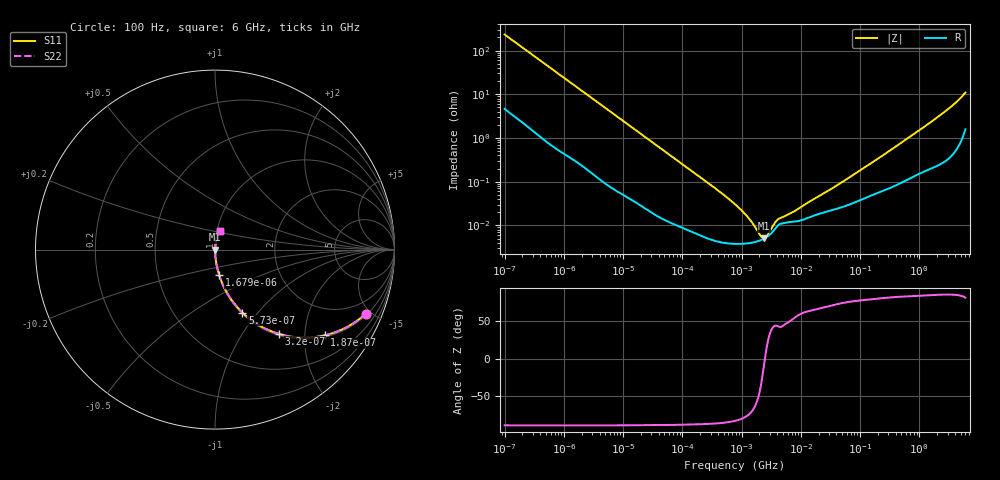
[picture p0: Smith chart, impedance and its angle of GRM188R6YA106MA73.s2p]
!Murata Part Number: GRM188R6YA106MA73
!These Parameters are Measured in Series Mode Connection
!Data Generated on Mar 30, 2021
!  o--ll--o
!Port1  Port2
!  o------o
!Operation Temp=25[degC], DC Bias Voltage=0[V]
!Freq. Start=100[Hz] Stop=6[GHz] 401[Steps]
# Hz S RI R 50
!Freq.(Hz) S11(Real) S11(Imag) S21(Real) S21(Imag) S12(Real) S12(Imag) S22(Real) S22(Imag)
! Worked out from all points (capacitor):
!   401 points, 100 Hz to 6 GHz, reference 50 ohm
!   read as one part in series: C = 6.77 uF near 109 Hz
!   lowest |Z| = 5.04 mohm at 2.373 MHz (marker M1)
!   series resonance near 2.477 MHz, so ESL is about 610 pH
!   S11 on the Smith chart (normalised r, x): 100 Hz: 1.09, -4.68; 187 Hz: 1.05, -2.52; 320 Hz: 1.03, -1.48; 573 Hz: 1.01, -0.83; 1.679 kHz: 1.01, -0.29; 6 GHz: 1.03, +0.22
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100  0.8407 -0.3562  0.1593 0.3562  0.1593 0.3562  0.8407 -0.3562
187  0.6115 -0.4779  0.3885 0.4779  0.3885 0.4779  0.6115 -0.4779
320  0.357 -0.4701  0.643 0.4701  0.643 0.4701  0.357 -0.4701
573  0.1522 -0.3506  0.8478 0.3506  0.8478 0.3506  0.1522 -0.3506
938  0.0652 -0.238  0.9348 0.238  0.9348 0.238  0.0652 -0.238
1679  0.0229 -0.1402  0.9771 0.1402  0.9771 0.1402  0.0229 -0.1402
2008  0.0166 -0.1183  0.9834 0.1183  0.9834 0.1183  0.0166 -0.1183
6433  0.00217 -0.038  0.9978 0.038  0.9978 0.038  0.00217 -0.038
40335  0.000194 -0.00622  0.9998 0.00622  0.9998 0.00622  0.000194 -0.00622
316350  4.7e-05 -0.000805  1 0.000805  1 0.000805  4.7e-05 -0.000805
774597  3.79e-05 -0.000303  1 0.000303  1 0.000303  3.79e-05 -0.000303
1585629  4.09e-05 -9.71e-05  1 9.71e-05  1 9.71e-05  4.09e-05 -9.71e-05
1813585  4.29e-05 -6.67e-05  1 6.67e-05  1 6.67e-05  4.29e-05 -6.67e-05
2372521  4.96e-05 -9e-06  1 9e-06  1 9e-06  4.96e-05 -9e-06
3245845  6.8e-05 5.7e-05  0.9999 -5.7e-05  0.9999 -5.7e-05  6.8e-05 5.7e-05
4246196  0.000104 9.66e-05  0.9999 -9.66e-05  0.9999 -9.66e-05  0.000104 9.66e-05
7599586  0.000122 0.000168  0.9999 -0.000168  0.9999 -0.000168  0.000122 0.000168
1.555665e7  0.000162 0.000345  0.9998 -0.000345  0.9998 -0.000345  0.000162 0.000345
4.556224e7  0.000253 0.000871  0.9997 -0.000871  0.9997 -0.000871  0.000253 0.000871
3.124326e8  0.000732 0.005  0.9993 -0.005  0.9993 -0.005  0.000732 0.005
2.240541e9  0.00356 0.0328  0.9964 -0.0328  0.9964 -0.0328  0.00356 0.0328
6e9  0.0268 0.1045  0.9732 -0.1045  0.9732 -0.1045  0.0268 0.1045
